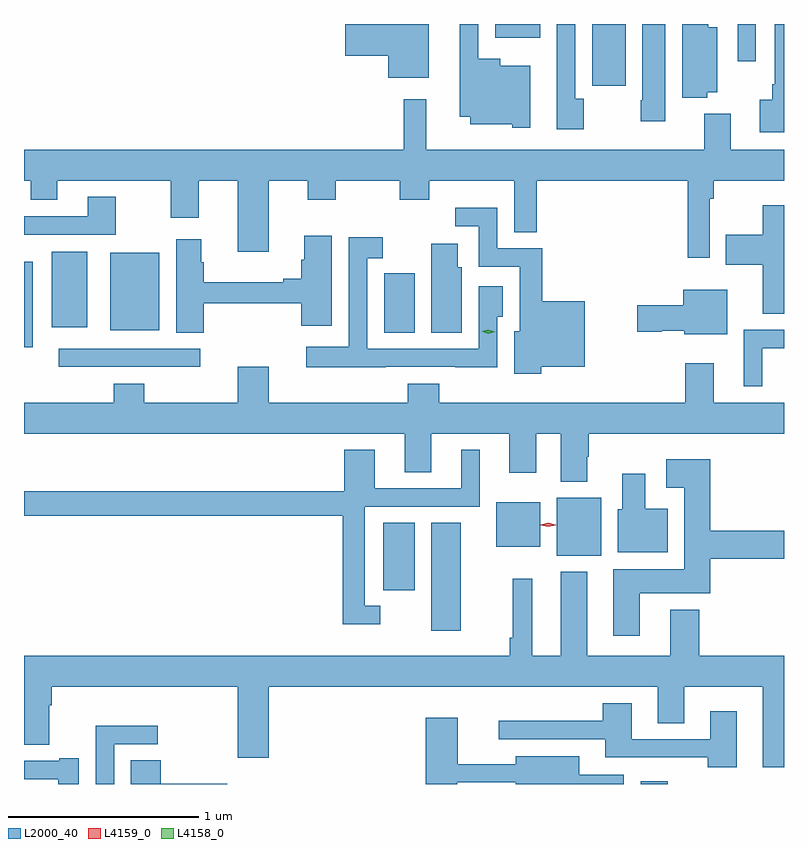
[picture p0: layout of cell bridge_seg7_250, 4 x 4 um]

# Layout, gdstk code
import gdstk
lib = gdstk.Library(unit=1e-6, precision=1e-09)
def R(c, l, rs):  # rectangles x0, y0, x1, y1
    for r in rs: c.add(gdstk.rectangle(r[:2], r[2:], *l))
def P(c, l, *ps):  # polygons
    for p in ps: c.add(gdstk.Polygon(p, *l))
L2000_40 = (2000, 40)
L4158_0 = (4158, 0)
L4159_0 = (4159, 0)

bridge_seg7_250 = lib.new_cell('bridge_seg7_250')
R(bridge_seg7_250, L2000_40, [(227.069,1046.725,227.212,1046.74), (225.968,1047.531,226.123,1048.1), (225.716,1047.744,225.88,1048.1), (226.628,1047.926,226.861,1048.231), (226.31,1047.974,226.54,1048.207), (224.007,1048.92,224.752,1049.016), (223.824,1049.025,223.87,1049.473), (225.719,1049.101,225.88,1049.412), (224.279,1049.114,224.536,1049.521), (223.97,1049.129,224.158,1049.527), (227.58,1050.528,227.676,1050.725), (226.304,1050.653,226.54,1050.725)])
P(bridge_seg7_250, L2000_40, [(226.771,1050.331),(226.725,1050.331),(226.725,1050.725),(226.629,1050.725),(226.629,1050.501),(226.628,1050.501),(226.628,1050.171),(226.771,1050.171)],
  [(226.99,1050.725),(226.814,1050.725),(226.814,1050.502),(226.815,1050.502),(226.815,1050.399),(226.99,1050.399)],
  [(227.421,1050.365),(227.473,1050.365),(227.473,1050.708),(227.424,1050.708),(227.424,1050.725),(227.288,1050.725),(227.288,1050.338),(227.421,1050.338)],
  [(227.824,1050.725),(227.775,1050.725),(227.775,1050.409),(227.763,1050.409),(227.763,1050.326),(227.697,1050.326),(227.697,1050.156),(227.824,1050.156)],
  [(227.2,1050.725),(227.078,1050.725),(227.078,1050.325),(227.071,1050.325),(227.071,1050.213),(227.2,1050.213)],
  [(226.489,1050.505),(226.33,1050.505),(226.33,1050.541),(226.215,1050.541),(226.215,1050.725),(226.118,1050.725),(226.118,1050.236),(226.172,1050.236),(226.172,1050.197),(226.395,1050.197),(226.395,1050.179),(226.489,1050.179)],
  [(225.955,1050.725),(225.516,1050.725),(225.516,1050.557),(225.74,1050.557),(225.74,1050.443),(225.955,1050.443)],
  [(227.433,1049.804),(227.453,1049.804),(227.453,1049.9),(227.824,1049.9),(227.824,1050.064),(227.545,1050.064),(227.545,1050.253),(227.405,1050.253),(227.405,1050.064),(225.942,1050.064),(225.942,1050.328),(225.823,1050.328),(225.823,1050.064),(223.824,1050.064),(223.824,1049.9),(223.859,1049.9),(223.859,1049.801),(223.999,1049.801),(223.999,1049.9),(224.596,1049.9),(224.596,1049.706),(224.743,1049.706),(224.743,1049.9),(224.948,1049.9),(224.948,1049.526),(225.112,1049.526),(225.112,1049.9),(225.317,1049.9),(225.317,1049.801),(225.465,1049.801),(225.465,1049.9),(225.802,1049.9),(225.802,1049.801),(225.957,1049.801),(225.957,1049.9),(226.403,1049.9),(226.403,1049.629),(226.522,1049.629),(226.522,1049.9),(227.317,1049.9),(227.317,1049.496),(227.433,1049.496)],
  [(224.307,1049.815),(224.159,1049.815),(224.159,1049.712),(223.824,1049.712),(223.824,1049.616),(224.307,1049.616)],
  [(227.824,1049.77),(227.711,1049.77),(227.711,1049.617),(227.518,1049.617),(227.518,1049.459),(227.711,1049.459),(227.711,1049.2),(227.824,1049.2)],
  [(226.547,1048.922),(226.774,1048.922),(226.774,1049.266),(226.552,1049.266),(226.552,1049.544),(226.314,1049.544),(226.314,1049.758),(226.095,1049.758),(226.095,1049.661),(226.218,1049.661),(226.218,1049.448),(226.433,1049.448),(226.433,1049.107),(226.403,1049.107),(226.403,1048.883),(226.547,1048.883)],
  [(224.771,1049.256),(225.284,1049.256),(225.284,1049.136),(225.445,1049.136),(225.445,1049.611),(225.299,1049.611),(225.299,1049.484),(225.284,1049.484),(225.284,1049.384),(225.188,1049.384),(225.188,1049.365),(224.771,1049.365),(224.771,1049.471),(224.758,1049.471),(224.758,1049.593),(224.624,1049.593),(224.624,1049.101),(224.771,1049.101)],
  [(225.727,1048.92),(226.093,1048.92),(226.093,1048.919),(226.314,1048.919),(226.314,1049.185),(226.345,1049.185),(226.345,1049.344),(226.218,1049.344),(226.218,1049.016),(225.63,1049.016),(225.63,1049.493),(225.712,1049.493),(225.712,1049.602),(225.534,1049.602),(225.534,1049.026),(225.309,1049.026),(225.309,1048.919),(225.727,1048.919)],
  [(226.129,1049.445),(226.108,1049.445),(226.108,1049.569),(225.968,1049.569),(225.968,1049.101),(226.129,1049.101)],
  [(227.524,1049.326),(227.294,1049.326),(227.294,1049.246),(227.052,1049.246),(227.052,1049.104),(227.181,1049.104),(227.181,1049.111),(227.298,1049.111),(227.298,1049.093),(227.524,1049.093)],
  [(227.71,1049.019),(227.824,1049.019),(227.824,1049.115),(227.612,1049.115),(227.612,1048.818),(227.71,1048.818)],
  [(226.789,1048.448),(226.797,1048.448),(226.797,1048.568),(227.824,1048.568),(227.824,1048.732),(227.455,1048.732),(227.455,1048.939),(227.303,1048.939),(227.303,1048.732),(226.01,1048.732),(226.01,1048.831),(225.845,1048.831),(225.845,1048.732),(225.112,1048.732),(225.112,1048.921),(224.948,1048.921),(224.948,1048.732),(224.457,1048.732),(224.457,1048.831),(224.297,1048.831),(224.297,1048.732),(223.824,1048.732),(223.824,1048.568),(225.827,1048.568),(225.827,1048.366),(225.967,1048.366),(225.967,1048.568),(226.379,1048.568),(226.379,1048.362),(226.519,1048.362),(226.519,1048.568),(226.649,1048.568),(226.649,1048.316),(226.789,1048.316)],
  [(225.7,1047.663),(225.618,1047.663),(225.618,1048.185),(226.222,1048.185),(226.222,1048.483),(226.124,1048.483),(226.124,1048.281),(225.67,1048.281),(225.67,1048.483),(225.509,1048.483),(225.509,1048.267),(223.824,1048.267),(223.824,1048.138),(225.502,1048.138),(225.502,1047.566),(225.7,1047.566)],
  [(227.065,1047.728),(227.435,1047.728),(227.435,1047.911),(227.824,1047.911),(227.824,1048.058),(227.435,1048.058),(227.435,1048.435),(227.205,1048.435),(227.205,1048.283),(227.3,1048.283),(227.3,1047.856),(226.925,1047.856),(226.925,1047.504),(227.065,1047.504)],
  [(227.212,1048.174),(227.095,1048.174),(227.095,1048.357),(226.973,1048.357),(226.973,1048.17),(226.949,1048.17),(226.949,1047.944),(227.212,1047.944)],
  [(227.824,1047.4),(227.378,1047.4),(227.378,1047.643),(227.225,1047.643),(227.225,1047.4),(226.789,1047.4),(226.789,1047.841),(226.649,1047.841),(226.649,1047.4),(226.498,1047.4),(226.498,1047.805),(226.396,1047.805),(226.396,1047.496),(226.381,1047.496),(226.381,1047.4),(223.824,1047.4),(223.824,1046.932),(223.957,1046.932),(223.957,1047.14),(223.97,1047.14),(223.97,1047.236),(224.948,1047.236),(224.948,1046.862),(225.112,1046.862),(225.112,1047.236),(227.159,1047.236),(227.159,1047.046),(227.299,1047.046),(227.299,1047.236),(227.711,1047.236),(227.711,1046.814),(227.824,1046.814)],
  [(227.575,1047.109),(227.435,1047.109),(227.435,1046.961),(227.023,1046.961),(227.023,1047.151),(226.871,1047.151),(226.871,1047.058),(226.323,1047.058),(226.323,1046.961),(226.883,1046.961),(226.883,1046.865),(227.423,1046.865),(227.423,1046.814),(227.575,1046.814)],
  [(226.104,1046.733),(226.412,1046.733),(226.412,1046.725),(226.98,1046.725),(226.98,1046.775),(226.747,1046.775),(226.747,1046.872),(226.412,1046.872),(226.412,1046.83),(226.108,1046.83),(226.108,1047.073),(225.938,1047.073),(225.938,1046.725),(226.104,1046.725)],
  [(224.298,1046.934),(224.527,1046.934),(224.527,1047.032),(224.202,1047.032),(224.202,1046.725),(224.298,1046.725)],
  [(224.113,1046.86),(224.009,1046.86),(224.009,1046.847),(223.824,1046.847),(223.824,1046.751),(224.003,1046.751),(224.003,1046.725),(224.113,1046.725)],
  [(224.894,1046.726),(224.544,1046.726),(224.544,1046.849),(224.387,1046.849),(224.387,1046.725),(224.894,1046.725)])
P(bridge_seg7_250, L4158_0, [(226.268,1049.096),(226.233,1049.107),(226.233,1049.107),(226.233,1049.107),(226.268,1049.116),(226.304,1049.105),(226.304,1049.105),(226.304,1049.105)])
P(bridge_seg7_250, L4159_0, [(226.584,1048.079),(226.545,1048.088),(226.545,1048.089),(226.545,1048.089),(226.584,1048.099),(226.623,1048.089),(226.623,1048.089),(226.623,1048.088)])

lib.write_gds('bridge_seg7_250.gds')
